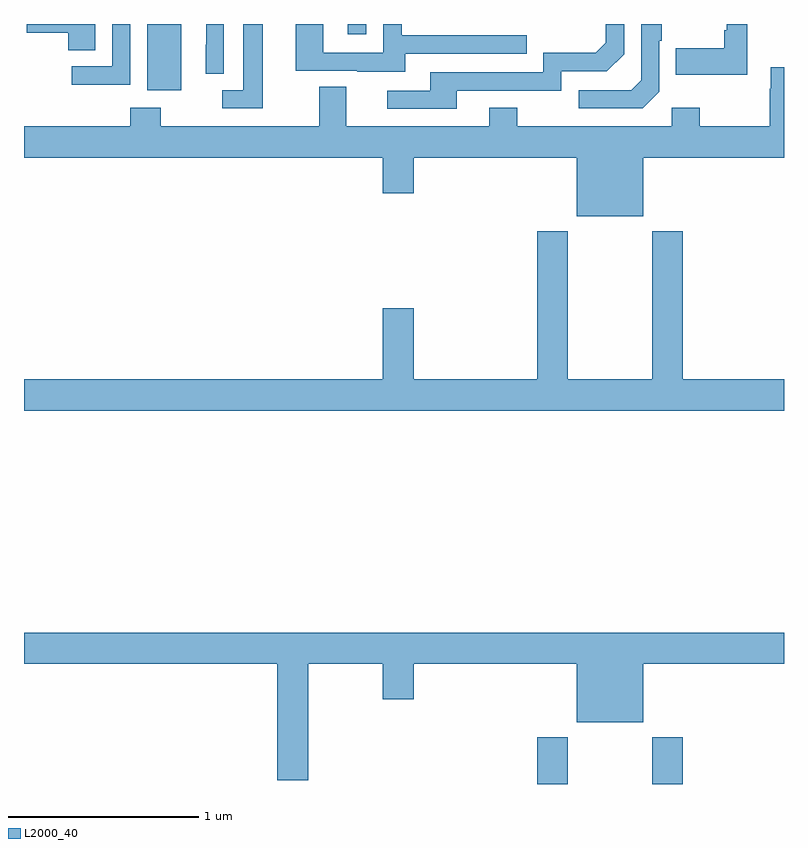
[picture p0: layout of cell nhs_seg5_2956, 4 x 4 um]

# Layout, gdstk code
import gdstk
lib = gdstk.Library(unit=1e-6, precision=1e-09)
def R(c, l, rs):  # rectangles x0, y0, x1, y1
    for r in rs: c.add(gdstk.rectangle(r[:2], r[2:], *l))
def P(c, l, *ps):  # polygons
    for p in ps: c.add(gdstk.Polygon(p, *l))
L2000_40 = (2000, 40)

nhs_seg5_2956 = lib.new_cell('nhs_seg5_2956')
R(nhs_seg5_2956, L2000_40, [(285.701,850.799,285.861,851.044), (286.306,850.799,286.466,851.044), (283.649,854.45,283.828,854.799), (284.705,854.745,284.802,854.799)])
P(nhs_seg5_2956, L2000_40, [(284.052,854.799),(283.958,854.799),(283.958,854.69),(283.956,854.69),(283.956,854.536),(284.052,854.536)],
  [(283.375,854.799),(283.014,854.799),(283.014,854.753),(283.232,854.753),(283.232,854.662),(283.375,854.662)],
  [(286.807,854.799),(286.698,854.799),(286.698,854.767),(286.686,854.767),(286.686,854.671),(286.429,854.671),(286.429,854.531),(286.807,854.531)],
  [(285.007,854.643),(285.647,854.643),(285.647,854.739),(284.988,854.739),(284.988,854.799),(284.892,854.799),(284.892,854.649),(284.574,854.649),(284.574,854.799),(284.429,854.799),(284.429,854.553),(284.753,854.553),(284.753,854.549),(285.007,854.549)],
  [(286.344,854.442),(286.344,854.711),(286.357,854.711),(286.357,854.799),(286.248,854.799),(286.248,854.502),(286.197,854.451),(285.921,854.451),(285.921,854.355),(286.257,854.355)],
  [(284.257,854.799),(284.153,854.799),(284.153,854.451),(284.043,854.451),(284.043,854.355),(284.257,854.355)],
  [(285.277,854.448),(285.828,854.448),(285.828,854.55),(286.068,854.55),(286.158,854.64),(286.158,854.799),(286.062,854.799),(286.062,854.7),(286.009,854.647),(285.732,854.647),(285.732,854.544),(285.137,854.544),(285.137,854.448),(284.913,854.448),(284.913,854.352),(285.277,854.352)],
  [(283.56,854.799),(283.464,854.799),(283.464,854.577),(283.251,854.577),(283.251,854.479),(283.56,854.479)],
  [(286.258,854.096),(287,854.096),(287,854.572),(286.931,854.572),(286.931,854.459),(286.924,854.459),(286.924,854.26),(286.557,854.26),(286.557,854.359),(286.41,854.359),(286.41,854.26),(285.597,854.26),(285.597,854.359),(285.449,854.359),(285.449,854.26),(284.695,854.26),(284.695,854.468),(284.555,854.468),(284.555,854.26),(283.719,854.26),(283.719,854.359),(283.559,854.359),(283.559,854.26),(283,854.26),(283,854.096),(284.888,854.096),(284.888,853.908),(285.052,853.908),(285.052,854.096),(285.908,854.096),(285.908,853.787),(286.258,853.787)],
  [(287,852.928),(286.466,852.928),(286.466,853.708),(286.306,853.708),(286.306,852.928),(285.861,852.928),(285.861,853.708),(285.701,853.708),(285.701,852.928),(285.052,852.928),(285.052,853.303),(284.888,853.303),(284.888,852.928),(283,852.928),(283,852.764),(287,852.764)],
  [(283,851.432),(284.333,851.432),(284.333,850.818),(284.497,850.818),(284.497,851.432),(284.888,851.432),(284.888,851.244),(285.052,851.244),(285.052,851.432),(285.908,851.432),(285.908,851.123),(286.258,851.123),(286.258,851.432),(287,851.432),(287,851.596),(283,851.596)])

lib.write_gds('nhs_seg5_2956.gds')
